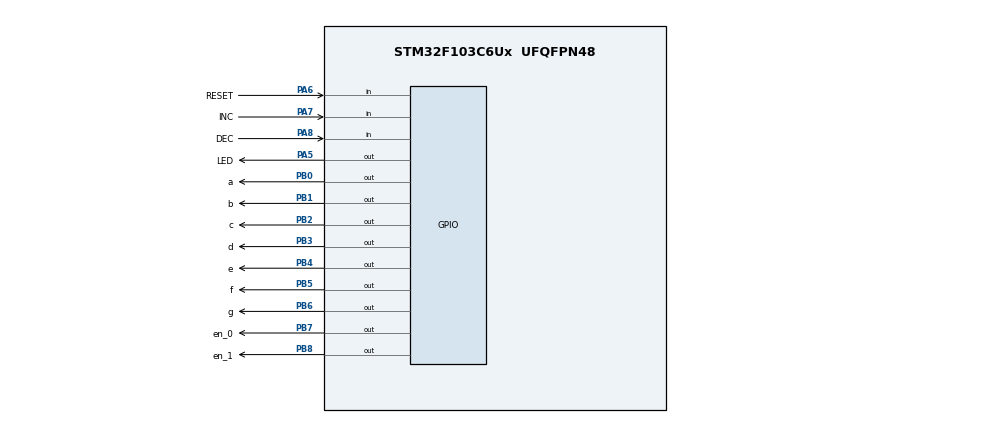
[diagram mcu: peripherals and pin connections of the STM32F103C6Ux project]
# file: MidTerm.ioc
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Mcu.Family=STM32F1
Mcu.Name=STM32F103C6Ux
Mcu.Package=UFQFPN48
NVIC.PriorityGroup=NVIC_PRIORITYGROUP_4
NVIC.TIM2_IRQn=true\:0\:0\:false\:false\:true\:true\:true\:true
PA5.GPIO_Label=LED
PA5.Signal=GPIO_Output
PA6.GPIO_Label=RESET
PA6.GPIO_PuPd=GPIO_PULLUP
PA6.Signal=GPIO_Input
PA7.GPIO_Label=INC
PA7.GPIO_PuPd=GPIO_PULLUP
PA7.Signal=GPIO_Input
PA8.GPIO_Label=DEC
PA8.GPIO_PuPd=GPIO_PULLUP
PA8.Signal=GPIO_Input
PB0.GPIO_Label=a
PB0.Signal=GPIO_Output
PB1.GPIO_Label=b
PB1.Signal=GPIO_Output
PB2.GPIO_Label=c
PB2.Signal=GPIO_Output
PB3.GPIO_Label=d
PB3.Signal=GPIO_Output
PB4.GPIO_Label=e
PB4.Signal=GPIO_Output
PB5.GPIO_Label=f
PB5.Signal=GPIO_Output
PB6.GPIO_Label=g
PB6.Signal=GPIO_Output
PB7.GPIO_Label=en_0
PB7.Signal=GPIO_Output
PB8.GPIO_Label=en_1
PB8.Signal=GPIO_Output
ProjectManager.HeapSize=0x200
ProjectManager.StackSize=0x400
ProjectManager.TargetToolchain=STM32CubeIDE
RCC.APB1Freq_Value=8000000
RCC.APB2Freq_Value=8000000
TIM2.Period=9
TIM2.Prescaler=7999
VP_TIM2_VS_ClockSourceINT.Mode=Internal
board=custom

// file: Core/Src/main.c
/* USER CODE BEGIN Header */
/**
  ******************************************************************************
  * @file           : main.c
  * @brief          : Main program body
  ******************************************************************************
  * @attention
  *
  * Copyright (c) 2022 STMicroelectronics.
  * All rights reserved.
  *
  * This software is licensed under terms that can be found in the LICENSE file
  * in the root directory of this software component.
  * If no LICENSE file comes with this software, it is provided AS-IS.
  *
  ******************************************************************************
  */
/* USER CODE END Header */
#include "main.h"

/* USER CODE BEGIN Includes */
#include "globalVar.h"
#include "software_timer.h"
#include "led_7_seg.h"
#include "fsm_midterm.h"

/* USER CODE END Includes */

TIM_HandleTypeDef htim2;

void SystemClock_Config(void);
static void MX_GPIO_Init(void);
static void MX_TIM2_Init(void);

int main(void)
{

  /* MCU Configuration--------------------------------------------------------*/

  /* Reset of all peripherals, Initializes the Flash interface and the Systick. */
  HAL_Init();

  /* Configure the system clock */
  SystemClock_Config();

  /* Initialize all configured peripherals */
  MX_GPIO_Init();
  MX_TIM2_Init();
  /* USER CODE BEGIN 2 */

  HAL_TIM_Base_Start_IT(& htim2);

  SetTimer_0(10);
  SetTimer_1(1000);
  InitVar();
  /* USER CODE END 2 */

  /* Infinite loop */
  /* USER CODE BEGIN WHILE */
  while (1)
  {
	  if(FlagTimer_0()){
		  fsm_simple_buttons_run();
		  DisplayNum(number);
		  SetTimer_0(10);
	  }
	  if(FlagTimer_1()){
		  if(flagIncreaseNumberMode1){
				number = number + 1 > 9 ? 0 : number + 1;
		  }
		  else if(flagDecreaseNumberMode1){
				number = number - 1 < 0 ? 9 : number - 1;
		  }
		  else if(flagDecreaseNumberMode2){
				number = number - 1 < 0 ? 0 : number - 1;
		  }
		  HAL_GPIO_TogglePin(LED_GPIO_Port, LED_Pin);
		  SetTimer_1(1000);
	  }
    /* USER CODE END WHILE */

  }
}

void SystemClock_Config(void)
{
  RCC_OscInitTypeDef RCC_OscInitStruct = {0};
  RCC_ClkInitTypeDef RCC_ClkInitStruct = {0};

  /** Initializes the RCC Oscillators according to the specified parameters
  * in the RCC_OscInitTypeDef structure.
  */
  RCC_OscInitStruct.OscillatorType = RCC_OSCILLATORTYPE_HSI;
  RCC_OscInitStruct.HSIState = RCC_HSI_ON;
  RCC_OscInitStruct.HSICalibrationValue = RCC_HSICALIBRATION_DEFAULT;
  RCC_OscInitStruct.PLL.PLLState = RCC_PLL_NONE;
  if (HAL_RCC_OscConfig(&RCC_OscInitStruct) != HAL_OK)
  {
    Error_Handler();
  }

  /** Initializes the CPU, AHB and APB buses clocks
  */
  RCC_ClkInitStruct.ClockType = RCC_CLOCKTYPE_HCLK|RCC_CLOCKTYPE_SYSCLK
                              |RCC_CLOCKTYPE_PCLK1|RCC_CLOCKTYPE_PCLK2;
  RCC_ClkInitStruct.SYSCLKSource = RCC_SYSCLKSOURCE_HSI;
  RCC_ClkInitStruct.AHBCLKDivider = RCC_SYSCLK_DIV1;
  RCC_ClkInitStruct.APB1CLKDivider = RCC_HCLK_DIV1;
  RCC_ClkInitStruct.APB2CLKDivider = RCC_HCLK_DIV1;

  if (HAL_RCC_ClockConfig(&RCC_ClkInitStruct, FLASH_LATENCY_0) != HAL_OK)
  {
    Error_Handler();
  }
}

static void MX_TIM2_Init(void)
{

  TIM_ClockConfigTypeDef sClockSourceConfig = {0};
  TIM_MasterConfigTypeDef sMasterConfig = {0};

  htim2.Instance = TIM2;
  htim2.Init.Prescaler = 7999;
  htim2.Init.CounterMode = TIM_COUNTERMODE_UP;
  htim2.Init.Period = 9;
  htim2.Init.ClockDivision = TIM_CLOCKDIVISION_DIV1;
  htim2.Init.AutoReloadPreload = TIM_AUTORELOAD_PRELOAD_DISABLE;
  if (HAL_TIM_Base_Init(&htim2) != HAL_OK)
  {
    Error_Handler();
  }
  sClockSourceConfig.ClockSource = TIM_CLOCKSOURCE_INTERNAL;
  if (HAL_TIM_ConfigClockSource(&htim2, &sClockSourceConfig) != HAL_OK)
  {
    Error_Handler();
  }
  sMasterConfig.MasterOutputTrigger = TIM_TRGO_RESET;
  sMasterConfig.MasterSlaveMode = TIM_MASTERSLAVEMODE_DISABLE;
  if (HAL_TIMEx_MasterConfigSynchronization(&htim2, &sMasterConfig) != HAL_OK)
  {
    Error_Handler();
  }

}

static void MX_GPIO_Init(void)
{
  GPIO_InitTypeDef GPIO_InitStruct = {0};

  /* GPIO Ports Clock Enable */
  __HAL_RCC_GPIOA_CLK_ENABLE();
  __HAL_RCC_GPIOB_CLK_ENABLE();

  /*Configure GPIO pin Output Level */
  HAL_GPIO_WritePin(LED_GPIO_Port, LED_Pin, GPIO_PIN_RESET);

  /*Configure GPIO pin Output Level */
  HAL_GPIO_WritePin(GPIOB, a_Pin|b_Pin|c_Pin|d_Pin
                          |e_Pin|f_Pin|g_Pin|en_0_Pin
                          |en_1_Pin, GPIO_PIN_RESET);

  /*Configure GPIO pin : LED_Pin */
  GPIO_InitStruct.Pin = LED_Pin;
  GPIO_InitStruct.Mode = GPIO_MODE_OUTPUT_PP;
  GPIO_InitStruct.Pull = GPIO_NOPULL;
  GPIO_InitStruct.Speed = GPIO_SPEED_FREQ_LOW;
  HAL_GPIO_Init(LED_GPIO_Port, &GPIO_InitStruct);

  /*Configure GPIO pins : RESET_Pin INC_Pin DEC_Pin */
  GPIO_InitStruct.Pin = RESET_Pin|INC_Pin|DEC_Pin;
  GPIO_InitStruct.Mode = GPIO_MODE_INPUT;
  GPIO_InitStruct.Pull = GPIO_PULLUP;
  HAL_GPIO_Init(GPIOA, &GPIO_InitStruct);

  /*Configure GPIO pins : a_Pin b_Pin c_Pin d_Pin
                           e_Pin f_Pin g_Pin en_0_Pin
                           en_1_Pin */
  GPIO_InitStruct.Pin = a_Pin|b_Pin|c_Pin|d_Pin
                          |e_Pin|f_Pin|g_Pin|en_0_Pin
                          |en_1_Pin;
  GPIO_InitStruct.Mode = GPIO_MODE_OUTPUT_PP;
  GPIO_InitStruct.Pull = GPIO_NOPULL;
  GPIO_InitStruct.Speed = GPIO_SPEED_FREQ_LOW;
  HAL_GPIO_Init(GPIOB, &GPIO_InitStruct);

}

void Error_Handler(void)
{
  __disable_irq();
  while (1)
  {
  }
}
